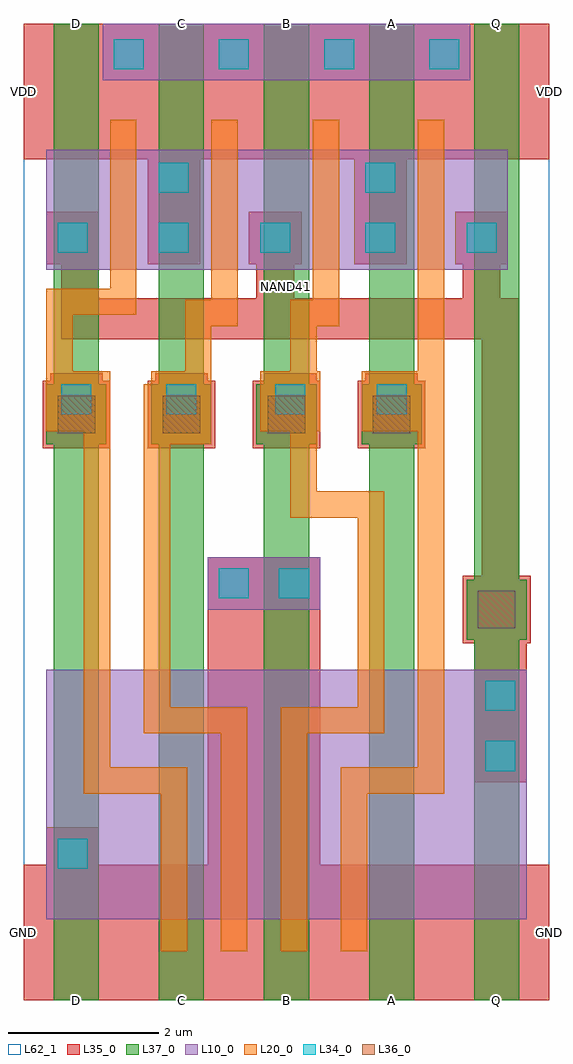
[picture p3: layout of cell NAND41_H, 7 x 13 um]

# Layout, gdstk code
import gdstk
lib = gdstk.Library(unit=1e-6, precision=1e-09)
def R(c, l, rs):  # rectangles x0, y0, x1, y1
    for r in rs: c.add(gdstk.rectangle(r[:2], r[2:], *l))
def A(c, l, x, y, w, h, nx, ny, dx, dy):  # array of equal rectangles
    R(c, l, [(x+i*dx, y+j*dy, x+i*dx+w, y+j*dy+h) for i in range(nx) for j in range(ny)])
def P(c, l, *ps):  # polygons
    for p in ps: c.add(gdstk.Polygon(p, *l))
L10_0 = (10, 0)
L20_0 = (20, 0)
L34_0 = (34, 0)
L35_0 = (35, 0)
L36_0 = (36, 0)
L37_0 = (37, 0)
L62_1 = (62, 1)

nand41_h = lib.new_cell('NAND41_H')
R(nand41_h, L10_0, [(0.3,1.075,6.7,4.4), (2.45,5.2,3.95,5.9), (0.3,9.725,6.45,11.325), (1.05,12.25,5.95,13)])
P(nand41_h, L20_0, [(5.6,11.725),(5.25,11.725),(5.25,8.375),(4.5,8.375),(4.5,7.575),(5.25,7.575),(5.25,3.1),(4.225,3.1),(4.225,0.65),(4.575,0.65),(4.575,2.75),(5.6,2.75)],
  [(4.8,6.775),(3.9,6.775),(3.9,7.575),(3.95,7.575),(3.95,8.375),(3.9,8.375),(3.9,8.975),(4.2,8.975),(4.2,11.725),(3.85,11.725),(3.85,9.325),(3.55,9.325),(3.55,8.375),(3.15,8.375),(3.15,7.575),(3.55,7.575),(3.55,6.425),(4.45,6.425),(4.45,3.9),(3.425,3.9),(3.425,0.65),(3.775,0.65),(3.775,3.55),(4.8,3.55)],
  [(2.975,3.9),(1.95,3.9),(1.95,7.4),(2.5,7.4),(2.5,8.975),(2.85,8.975),(2.85,11.725),(2.5,11.725),(2.5,9.325),(2.15,9.325),(2.15,8.375),(1.7,8.375),(1.7,8.2),(1.6,8.2),(1.6,3.55),(2.625,3.55),(2.625,0.65),(2.975,0.65)],
  [(2.175,3.1),(1.15,3.1),(1.15,8.375),(0.65,8.375),(0.65,9.125),(1.5,9.125),(1.5,11.725),(1.15,11.725),(1.15,9.475),(0.3,9.475),(0.3,7.575),(0.8,7.575),(0.8,2.75),(1.825,2.75),(1.825,0.65),(2.175,0.65)])
A(nand41_h, L34_0, 0.45, 9.95, 0.4, 0.4, 3, 1, 1.35, 0)
A(nand41_h, L34_0, 1.2, 12.4, 0.4, 0.4, 4, 1, 1.4, 0)
R(nand41_h, L34_0, [(0.45,1.75,0.85,2.15), (6.15,3.05,6.55,3.45), (6.15,3.85,6.55,4.25), (2.6,5.35,3,5.75), (3.4,5.35,3.8,5.75), (0.5,7.8,0.9,8.2), (1.9,7.8,2.3,8.2), (3.35,7.8,3.75,8.2), (4.7,7.8,5.1,8.2), (4.55,9.95,4.95,10.35), (5.9,9.95,6.3,10.35), (1.8,10.75,2.2,11.15), (4.55,10.75,4.95,11.15)])
A(nand41_h, L35_0, 0.25, 7.35, 0.9, 0.9, 4, 1, 1.4, 0)
R(nand41_h, L35_0, [(5.85,4.75,6.75,5.65)])
P(nand41_h, L35_0, [(5.35,8.25),(5.25,8.25),(5.25,8.35),(4.55,8.35),(4.55,8.25),(4.45,8.25),(4.45,7.35),(5.35,7.35)],
  [(3.95,8.25),(3.9,8.25),(3.9,8.35),(3.2,8.35),(3.2,8.25),(3.05,8.25),(3.05,7.35),(3.95,7.35)],
  [(2.55,8.25),(2.45,8.25),(2.45,8.35),(1.75,8.35),(1.75,8.25),(1.65,8.25),(1.65,7.35),(2.55,7.35)],
  [(1.15,8.25),(1.05,8.25),(1.05,8.35),(0.35,8.35),(0.35,8.25),(0.25,8.25),(0.25,7.35),(1.15,7.35)],
  [(6.75,5.65),(6.6,5.65),(6.6,9.35),(6.35,9.35),(6.35,9.8),(6.45,9.8),(6.45,10.5),(5.75,10.5),(5.75,9.8),(5.85,9.8),(5.85,9.35),(3.6,9.35),(3.6,9.8),(3.7,9.8),(3.7,10.5),(3,10.5),(3,9.8),(3.1,9.8),(3.1,9.35),(1,9.35),(1,10.5),(0.3,10.5),(0.3,9.8),(0.5,9.8),(0.5,8.8),(6.1,8.8),(6.1,5.65),(5.85,5.65),(5.85,4.75),(6,4.75),(6,2.9),(6.7,2.9),(6.7,4.75),(6.75,4.75)],
  [(7,13),(0,13),(0,11.2),(1.65,11.2),(1.65,9.8),(2.35,9.8),(2.35,11.2),(4.4,11.2),(4.4,9.8),(5.1,9.8),(5.1,11.2),(7,11.2)],
  [(7,1.8),(3.95,1.8),(3.95,5.9),(2.45,5.9),(2.45,1.8),(1,1.8),(1,2.3),(0.3,2.3),(0.3,1.8),(0,1.8),(0,0),(7,0)])
A(nand41_h, L36_0, 0.45, 7.55, 0.5, 0.5, 4, 1, 1.4, 0)
R(nand41_h, L36_0, [(6.05,4.95,6.55,5.45)])
A(nand41_h, L37_0, 0.4, 0, 0.6, 13, 5, 1, 1.4, 0)
A(nand41_h, L37_0, 0.3, 7.4, 0.8, 0.8, 4, 1, 1.4, 0)
R(nand41_h, L37_0, [(5.9,4.8,6.7,5.6)])
R(nand41_h, L62_1, [(0,0,7,13)])
nand41_h.add(gdstk.Label('NAND41', (3.5,9.5), layer=61, texttype=2))
nand41_h.add(gdstk.Label('D', (0.7,13), layer=37, texttype=0))
nand41_h.add(gdstk.Label('C', (2.1,13), layer=37, texttype=0))
nand41_h.add(gdstk.Label('B', (3.5,13), layer=37, texttype=0))
nand41_h.add(gdstk.Label('A', (4.9,13), layer=37, texttype=0))
nand41_h.add(gdstk.Label('Q', (6.3,13), layer=37, texttype=0))
nand41_h.add(gdstk.Label('GND', (7,0.9), layer=35, texttype=0))
nand41_h.add(gdstk.Label('GND', (0,0.9), layer=35, texttype=0))
nand41_h.add(gdstk.Label('VDD', (7,12.1), layer=35, texttype=0))
nand41_h.add(gdstk.Label('VDD', (0,12.1), layer=35, texttype=0))
nand41_h.add(gdstk.Label('D', (0.7,0), layer=37, texttype=0))
nand41_h.add(gdstk.Label('C', (2.1,0), layer=37, texttype=0))
nand41_h.add(gdstk.Label('B', (3.5,0), layer=37, texttype=0))
nand41_h.add(gdstk.Label('A', (4.9,0), layer=37, texttype=0))
nand41_h.add(gdstk.Label('Q', (6.3,0), layer=37, texttype=0))

lib.write_gds('NAND41_H.gds')
